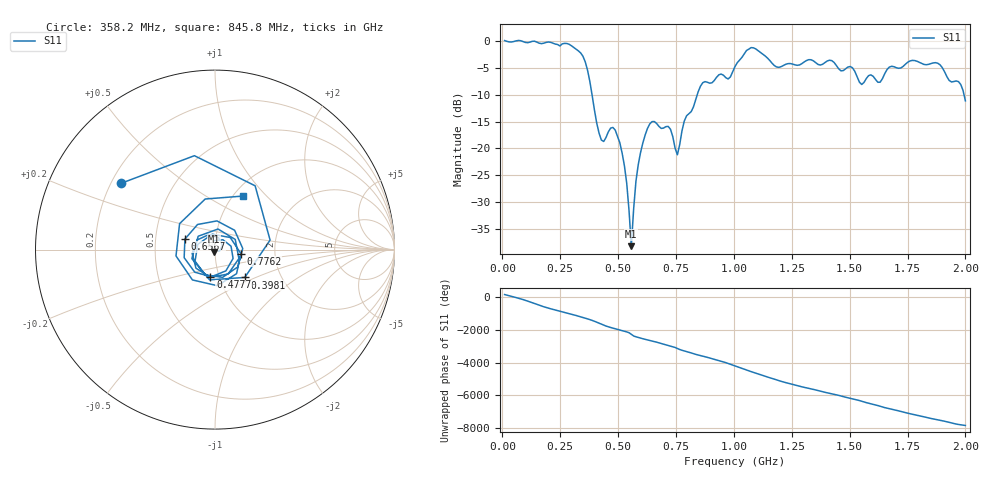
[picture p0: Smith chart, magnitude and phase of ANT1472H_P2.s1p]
!Created with skrf (http://scikit-rf.org).
# Hz S RI R 50.0
!freq ReS11 ImS11
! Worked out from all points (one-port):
!   201 points, 10 MHz to 2 GHz, reference 50 ohm
!   lowest |S11| = -38.2 dB at 557.2 MHz (marker M1), VSWR 1.02, Z = 49.4 - j1.05 ohm
!   |S11| at or under -10 dB: 387.6 MHz to 841.9 MHz (454.3 MHz wide, 73.9 % of centre); 1.994042 GHz to end of sweep
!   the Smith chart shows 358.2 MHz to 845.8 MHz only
!   S11 on the Smith chart (normalised r, x): 358.2 MHz: 0.24, +0.30; 398.1 MHz: 1.32, -0.43; 477.6 MHz: 0.91, -0.29; 656.8 MHz: 0.71, +0.09; 776.1 MHz: 1.34, -0.06; 845.8 MHz: 1.11, +0.74
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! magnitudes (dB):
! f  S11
! 10 MHz  0.1
! 258.8 MHz  -0.5
! 358.2 MHz  -3.9
! 398.1 MHz  -12.9
! 427.9 MHz  -18.4
! 477.6 MHz  -16.1
! 507.5 MHz  -18.9
! 537.4 MHz  -26.5
! 557.2 MHz  -38.2
! 577.1 MHz  -26.2
! 587.1 MHz  -23.0
! 626.9 MHz  -16.3
! 656.8 MHz  -15.0
! 726.4 MHz  -16.4
! 756.2 MHz  -21.2
! 776.1 MHz  -16.7
! 845.8 MHz  -9.5
! 975.1 MHz  -7.1
! 1.005 GHz  -4.7
! 1.075 GHz  -1.2
! 1.184 GHz  -4.8
! 1.254 GHz  -4.3
! 1.502 GHz  -4.7
! 1.552 GHz  -8.1
! 1.751 GHz  -3.9
! 1.881 GHz  -4.1
! 1.98 GHz  -8.1
! 2 GHz  -11.1
